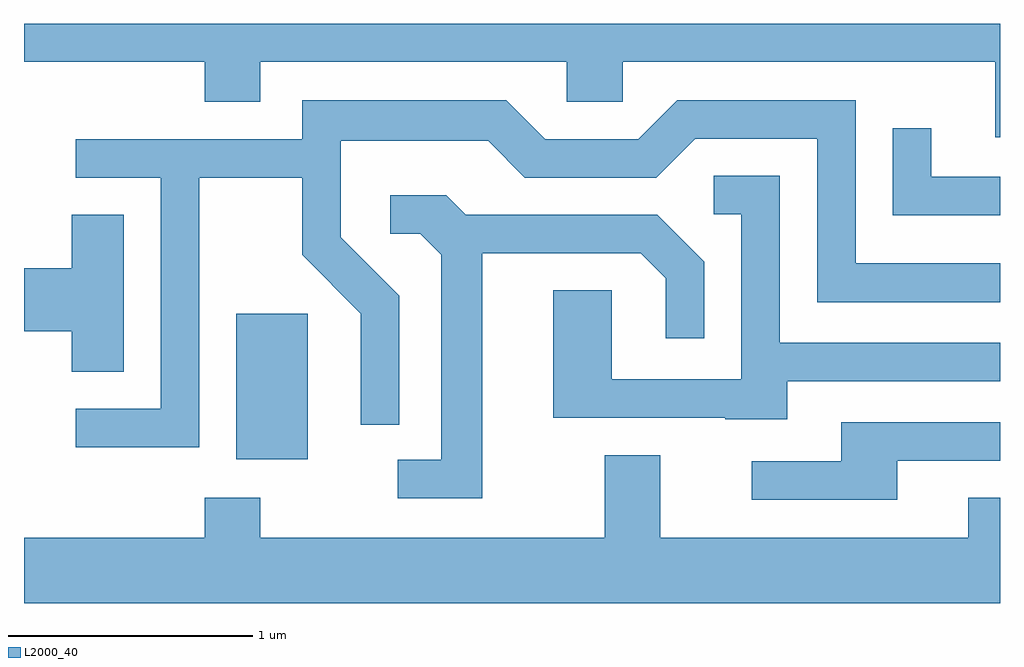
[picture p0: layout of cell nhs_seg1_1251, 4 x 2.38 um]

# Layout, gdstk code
import gdstk
lib = gdstk.Library(unit=1e-6, precision=1e-09)
def R(c, l, rs):  # rectangles x0, y0, x1, y1
    for r in rs: c.add(gdstk.rectangle(r[:2], r[2:], *l))
def P(c, l, *ps):  # polygons
    for p in ps: c.add(gdstk.Polygon(p, *l))
L2000_40 = (2000, 40)

nhs_seg1_1251 = lib.new_cell('nhs_seg1_1251')
R(nhs_seg1_1251, L2000_40, [(224.481,917.926,224.774,918.524)])
P(nhs_seg1_1251, L2000_40, [(227.611,919.712),(223.611,919.712),(223.611,919.556),(224.351,919.556),(224.351,919.391),(224.579,919.391),(224.579,919.556),(225.836,919.556),(225.836,919.391),(226.064,919.391),(226.064,919.556),(227.591,919.556),(227.591,919.246),(227.611,919.246)],
  [(224.329,919.081),(224.751,919.081),(224.751,918.764),(224.991,918.524),(224.991,918.068),(225.149,918.068),(225.149,918.597),(224.909,918.837),(224.909,919.231),(225.514,919.231),(225.664,919.081),(226.202,919.081),(226.362,919.241),(226.861,919.241),(226.861,918.571),(227.611,918.571),(227.611,918.729),(227.019,918.729),(227.019,919.399),(226.289,919.399),(226.129,919.239),(225.747,919.239),(225.587,919.399),(224.751,919.399),(224.751,919.239),(223.823,919.239),(223.823,919.081),(224.171,919.081),(224.171,918.134),(223.823,918.134),(223.823,917.976),(224.329,917.976)],
  [(227.611,919.084),(227.329,919.084),(227.329,919.283),(227.171,919.283),(227.171,918.926),(227.611,918.926)],
  [(226.739,918.246),(227.611,918.246),(227.611,918.404),(226.709,918.404),(226.709,919.089),(226.438,919.089),(226.438,918.931),(226.551,918.931),(226.551,918.254),(226.019,918.254),(226.019,918.619),(225.781,918.619),(225.781,918.096),(226.485,918.096),(226.485,918.091),(226.739,918.091)],
  [(225.489,918.771),(226.139,918.771),(226.241,918.669),(226.241,918.423),(226.399,918.423),(226.399,918.737),(226.207,918.929),(225.422,918.929),(225.342,919.009),(225.113,919.009),(225.113,918.851),(225.234,918.851),(225.321,918.764),(225.321,917.924),(225.143,917.924),(225.143,917.766),(225.489,917.766)],
  [(224.019,918.929),(223.806,918.929),(223.806,918.709),(223.611,918.709),(223.611,918.451),(223.806,918.451),(223.806,918.286),(224.019,918.286)],
  [(227.189,917.921),(227.611,917.921),(227.611,918.079),(226.961,918.079),(226.961,917.919),(226.593,917.919),(226.593,917.761),(227.189,917.761)],
  [(227.611,917.769),(227.481,917.769),(227.481,917.604),(226.219,917.604),(226.219,917.944),(225.991,917.944),(225.991,917.604),(224.579,917.604),(224.579,917.769),(224.351,917.769),(224.351,917.604),(223.611,917.604),(223.611,917.336),(227.611,917.336)])

lib.write_gds('nhs_seg1_1251.gds')
